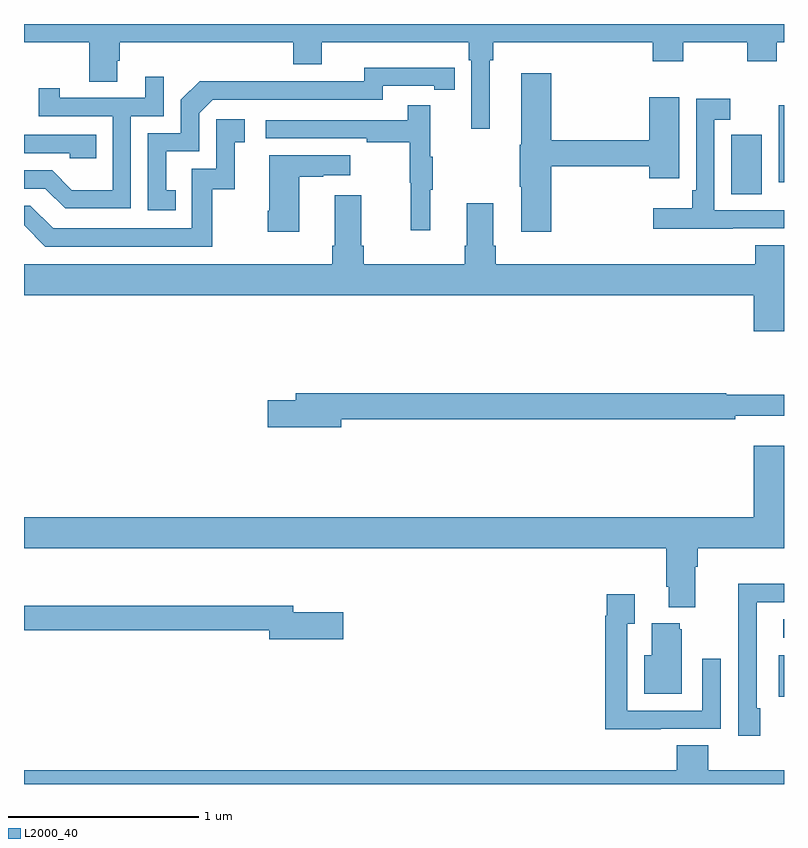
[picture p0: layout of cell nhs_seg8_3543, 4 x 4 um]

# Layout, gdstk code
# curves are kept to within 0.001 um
import gdstk
lib = gdstk.Library(unit=1e-6, precision=1e-09)
def R(c, l, rs):  # rectangles x0, y0, x1, y1
    for r in rs: c.add(gdstk.rectangle(r[:2], r[2:], *l))
def P(c, l, *ps):  # polygons
    for p in ps: c.add(gdstk.Polygon(p, *l))
L2000_40 = (2000, 40)

nhs_seg8_3543 = lib.new_cell('nhs_seg8_3543')
R(nhs_seg8_3543, L2000_40, [(332.972,1142.359,333,1142.578), (332.997,1142.67,333,1142.766), (332.723,1145.005,332.884,1145.316), (332.972,1145.067,333,1145.473)])
P(nhs_seg8_3543, L2000_40, [(329,1145.804),(329.344,1145.804),(329.344,1145.596),(329.491,1145.596),(329.491,1145.706),(329.504,1145.706),(329.504,1145.804),(330.416,1145.804),(330.416,1145.687),(330.568,1145.687),(330.568,1145.804),(331.34,1145.804),(331.34,1145.708),(331.353,1145.708),(331.353,1145.349),(331.45,1145.349),(331.45,1145.708),(331.469,1145.708),(331.469,1145.804),(332.309,1145.804),(332.309,1145.705),(332.469,1145.705),(332.469,1145.804),(332.806,1145.804),(332.806,1145.705),(332.961,1145.705),(332.961,1145.804),(333,1145.804),(333,1145.9),(329,1145.9)],
  [(329.798,1145.025),(329.749,1145.025),(329.749,1145.229),(329.922,1145.229),(329.922,1145.43),(329.994,1145.502),(330.888,1145.502),(330.888,1145.574),(331.16,1145.574),(331.16,1145.554),(331.268,1145.554),(331.268,1145.67),(330.792,1145.671),(330.792,1145.598),(330.332,1145.598),(330.332,1145.6),(329.924,1145.6),(329.826,1145.502),(329.826,1145.325),(329.652,1145.325),(329.652,1144.92),(329.798,1144.92)],
  [(331.775,1145.152),(332.291,1145.152),(332.291,1145.088),(332.449,1145.088),(332.449,1145.515),(332.291,1145.515),(332.291,1145.288),(331.775,1145.288),(331.775,1145.641),(331.616,1145.641),(331.616,1145.265),(331.609,1145.265),(331.609,1145.044),(331.616,1145.044),(331.616,1144.806),(331.775,1144.806)],
  [(329.562,1145.415),(329.736,1145.415),(329.736,1145.623),(329.639,1145.623),(329.639,1145.511),(329.188,1145.511),(329.188,1145.563),(329.077,1145.563),(329.077,1145.415),(329.466,1145.415),(329.466,1145.026),(329.252,1145.026),(329.148,1145.13),(329,1145.13),(329,1145.034),(329.111,1145.034),(329.216,1144.929),(329.562,1144.929)],
  [(332.731,1144.824),(333,1144.824),(333,1144.921),(332.98,1144.921),(332.98,1144.92),(332.634,1144.92),(332.634,1145.397),(332.716,1145.397),(332.716,1145.506),(332.538,1145.506),(332.538,1145.026),(332.518,1145.026),(332.518,1144.93),(332.313,1144.93),(332.313,1144.823),(332.731,1144.823)],
  [(331.139,1145.027),(331.15,1145.027),(331.15,1145.201),(331.139,1145.201),(331.139,1145.473),(331.021,1145.473),(331.021,1145.394),(330.273,1145.394),(330.273,1145.298),(330.805,1145.298),(330.805,1145.278),(331.029,1145.278),(331.029,1145.064),(331.036,1145.064),(331.036,1144.815),(331.139,1144.815)],
  [(329.992,1145.031),(330.11,1145.031),(330.11,1145.277),(330.163,1145.277),(330.163,1145.398),(330.012,1145.398),(330.012,1145.139),(329.883,1145.139),(329.883,1144.824),(329.154,1144.824),(329.034,1144.944),(329,1144.944),(329,1144.84),(329.112,1144.728),(329.992,1144.728)],
  [(329.381,1145.316),(329,1145.316),(329,1145.22),(329.241,1145.22),(329.241,1145.193),(329.381,1145.193)],
  [(330.448,1145.095),(330.575,1145.095),(330.575,1145.105),(330.718,1145.105),(330.718,1145.209),(330.29,1145.209),(330.29,1144.918),(330.283,1144.918),(330.283,1144.806),(330.448,1144.806)],
  [(333,1144.735),(332.849,1144.735),(332.849,1144.636),(331.484,1144.636),(331.484,1144.732),(331.471,1144.732),(331.471,1144.957),(331.331,1144.957),(331.331,1144.732),(331.319,1144.732),(331.319,1144.636),(330.788,1144.636),(330.788,1144.732),(330.775,1144.732),(330.775,1144.999),(330.635,1144.999),(330.635,1144.732),(330.623,1144.732),(330.623,1144.636),(329,1144.636),(329,1144.472),(332.84,1144.472),(332.84,1144.284),(333,1144.284)],
  [(330.67,1143.82),(332.744,1143.82),(332.744,1143.839),(333,1143.839),(333,1143.949),(332.696,1143.949),(332.696,1143.956),(330.431,1143.956),(330.431,1143.92),(330.282,1143.92),(330.282,1143.778),(330.67,1143.778)],
  [(332.533,1143.044),(332.546,1143.044),(332.546,1143.14),(333,1143.14),(333,1143.679),(332.84,1143.679),(332.84,1143.304),(329,1143.304),(329,1143.14),(332.381,1143.14),(332.381,1142.938),(332.393,1142.938),(332.393,1142.831),(332.533,1142.831)],
  [(332.875,1142.298),(332.856,1142.298),(332.856,1142.856),(333,1142.856),(333,1142.954),(332.758,1142.954),(332.758,1142.647),(332.76,1142.647),(332.76,1142.154),(332.875,1142.154)],
  [(332.351,1142.19),(332.667,1142.19),(332.667,1142.56),(332.571,1142.56),(332.571,1142.286),(332.175,1142.286),(332.175,1142.743),(332.215,1142.743),(332.215,1142.899),(332.067,1142.899),(332.067,1142.786),(332.059,1142.786),(332.059,1142.189),(332.351,1142.189)],
  [(330.679,1142.805),(330.418,1142.805),(330.418,1142.839),(329,1142.839),(329,1142.71),(330.29,1142.71),(330.29,1142.663),(330.679,1142.663)],
  [(332.461,1142.715),(332.45,1142.715),(332.45,1142.746),(332.303,1142.746),(332.303,1142.578),(332.264,1142.578),(332.264,1142.375),(332.461,1142.375)],
  [(333,1141.972),(332.6,1141.972),(332.6,1142.105),(332.435,1142.105),(332.435,1141.972),(329,1141.972),(329,1141.9),(333,1141.9)])

lib.write_gds('nhs_seg8_3543.gds')
